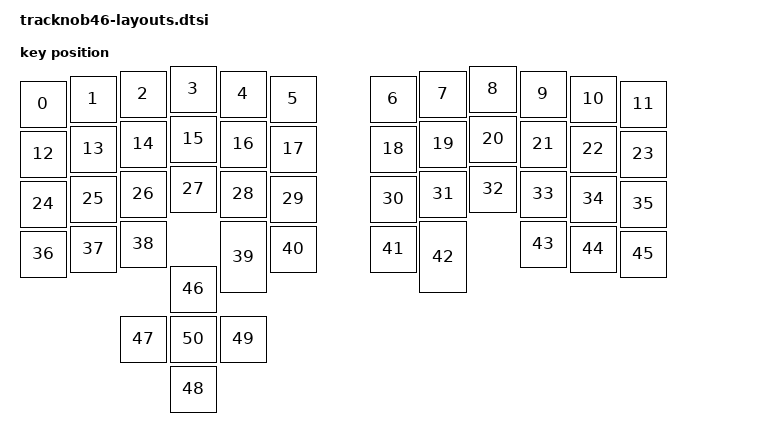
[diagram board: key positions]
#include <physical_layouts.dtsi>
#include "position_map.dtsi"

/ {
    tracknob46_physical_layout: tracknob46_physical_layout {
        compatible = "zmk,physical-layout";
        display-name = "Default";

        kscan = <&kscan0>;
        transform = <&default_transform>;

        keys  //                     w   h    x    y     rot    rx    ry
            = <&key_physical_attrs 100 100    0   30       0     0     0>
            , <&key_physical_attrs 100 100  100   20       0     0     0>
            , <&key_physical_attrs 100 100  200   10       0     0     0>
            , <&key_physical_attrs 100 100  300    0       0     0     0>
            , <&key_physical_attrs 100 100  400   10       0     0     0>
            , <&key_physical_attrs 100 100  500   20       0     0     0>
            , <&key_physical_attrs 100 100  700   20       0     0     0>
            , <&key_physical_attrs 100 100  800   10       0     0     0>
            , <&key_physical_attrs 100 100  900    0       0     0     0>
            , <&key_physical_attrs 100 100 1000   10       0     0     0>
            , <&key_physical_attrs 100 100 1100   20       0     0     0>
            , <&key_physical_attrs 100 100 1200   30       0     0     0>
            , <&key_physical_attrs 100 100    0  130       0     0     0>
            , <&key_physical_attrs 100 100  100  120       0     0     0>
            , <&key_physical_attrs 100 100  200  110       0     0     0>
            , <&key_physical_attrs 100 100  300  100       0     0     0>
            , <&key_physical_attrs 100 100  400  110       0     0     0>
            , <&key_physical_attrs 100 100  500  120       0     0     0>
            , <&key_physical_attrs 100 100  700  120       0     0     0>
            , <&key_physical_attrs 100 100  800  110       0     0     0>
            , <&key_physical_attrs 100 100  900  100       0     0     0>
            , <&key_physical_attrs 100 100 1000  110       0     0     0>
            , <&key_physical_attrs 100 100 1100  120       0     0     0>
            , <&key_physical_attrs 100 100 1200  130       0     0     0>
            , <&key_physical_attrs 100 100    0  230       0     0     0>
            , <&key_physical_attrs 100 100  100  220       0     0     0>
            , <&key_physical_attrs 100 100  200  210       0     0     0>
            , <&key_physical_attrs 100 100  300  200       0     0     0>
            , <&key_physical_attrs 100 100  400  210       0     0     0>
            , <&key_physical_attrs 100 100  500  220       0     0     0>
            , <&key_physical_attrs 100 100  700  220       0     0     0>
            , <&key_physical_attrs 100 100  800  210       0     0     0>
            , <&key_physical_attrs 100 100  900  200       0     0     0>
            , <&key_physical_attrs 100 100 1000  210       0     0     0>
            , <&key_physical_attrs 100 100 1100  220       0     0     0>
            , <&key_physical_attrs 100 100 1200  230       0     0     0>
            , <&key_physical_attrs 100 100    0  330       0     0     0>
            , <&key_physical_attrs 100 100  100  320       0     0     0>
            , <&key_physical_attrs 100 100  200  310       0     0     0>
            , <&key_physical_attrs 100 150  400  310       0     0     0>
            , <&key_physical_attrs 100 100  500  320       0     0     0>
            , <&key_physical_attrs 100 100  700  320       0     0     0>
            , <&key_physical_attrs 100 150  800  310       0     0     0>
            , <&key_physical_attrs 100 100 1000  310       0     0     0>
            , <&key_physical_attrs 100 100 1100  320       0     0     0>
            , <&key_physical_attrs 100 100 1200  330       0     0     0>
            , <&key_physical_attrs 100 100  300  400       0     0     0>
            , <&key_physical_attrs 100 100  200  500       0     0     0>
            , <&key_physical_attrs 100 100  300  600       0     0     0>
            , <&key_physical_attrs 100 100  400  500       0     0     0>
            , <&key_physical_attrs 100 100  300  500       0     0     0>
            ;
    };
};

&layout_tracknob46_position_map  {
    layout_tracknob46_map: layout_tracknob46 {
        physical-layout = <&tracknob46_physical_layout>;
        positions
            = < 0  1  2  3  4  5  6  7  8  9 10 11>
            , <12 13 14 15 16 17 18 19 20 21 22 23>
            , <24 25 26 27 28 29 30 31 32 33 34 35>
            , <36 37 38    39 40 41 42    43 44 45>
            , <         46                        >
            , <      47 50 49                     >
            , <         48                        >
            ;
    };
};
